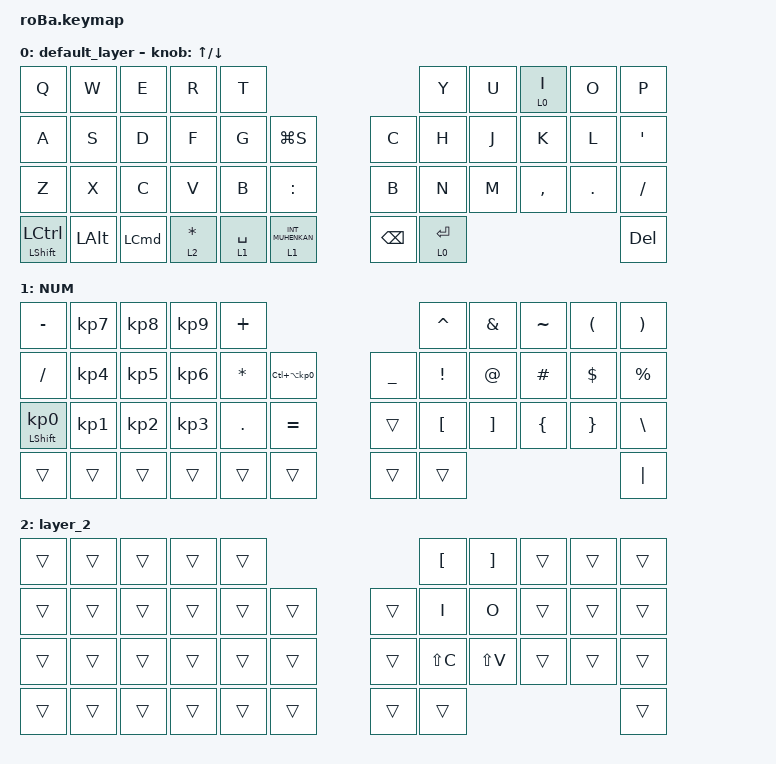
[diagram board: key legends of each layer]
#include <behaviors.dtsi>
#include <dt-bindings/zmk/keys.h>

#define MOUSE 4
#define SCROLL 5
#define NUM 6

&mt {
    flavor = "balanced";
    quick-tap-ms = <0>;
};

/ {
    combos {
        compatible = "zmk,combos";

        tab {
            bindings = <&kp TAB>;
            key-positions = <11 12>;
        };

        shift_tab {
            bindings = <&kp LS(TAB)>;
            key-positions = <12 13>;
        };

        muhennkann {
            bindings = <&to_layer_0 INT_MUHENKAN>;
            key-positions = <11 10>;
        };

        double_quotation {
            bindings = <&kp DOUBLE_QUOTES>;
            key-positions = <20 21>;
        };

        eq {
            bindings = <&kp EQUAL>;
            key-positions = <24 25>;
        };
    };

    macros {
        to_layer_0: to_layer_0 {
            compatible = "zmk,behavior-macro-one-param";
            #binding-cells = <1>;
            bindings = <&to 0 &macro_param_1to1 &kp MACRO_PLACEHOLDER>;
            label = "TO_LAYER_0";
        };
    };

    behaviors {
        lt_to_layer_0: lt_to_layer_0 {
            compatible = "zmk,behavior-hold-tap";
            label = "LAYER_TAP_TO_0";
            bindings = <&mo>, <&to_layer_0>;

            #binding-cells = <2>;
            tapping-term-ms = <200>;
        };
    };

    keymap {
        compatible = "zmk,keymap";

        default_layer {
            bindings = <
&kp Q                   &kp W         &kp E             &kp R           &kp T                                                          &kp Y        &kp U  &lt 0 I    &kp O    &kp P
&kp A                   &kp S         &kp D             &kp F           &kp G        &kp LG(S)                          &kp C          &kp H        &kp J  &kp K      &kp L    &kp SQT
&kp Z                   &kp X         &kp C             &kp V           &kp B        &kp COLON                          &kp B          &kp N        &kp M  &kp COMMA  &kp DOT  &kp SLASH
&mt LSHFT LEFT_CONTROL  &kp LEFT_ALT  &kp LEFT_COMMAND  &lt 2 ASTERISK  &lt 1 SPACE  &lt_to_layer_0 1 INT_MUHENKAN      &kp BACKSPACE  &lt 0 ENTER                             &kp DEL
            >;

            sensor-bindings = <&inc_dec_kp UP_ARROW DOWN>;
        };

        NUM {
            bindings = <
&kp MINUS                   &kp KP_NUMBER_7  &kp KP_NUMBER_8  &kp KP_NUMBER_9  &kp PLUS                                                   &kp CARET         &kp AMPERSAND      &kp TILDE       &kp LEFT_PARENTHESIS  &kp RIGHT_PARENTHESIS
&kp SLASH                   &kp KP_NUMBER_4  &kp KP_NUMBER_5  &kp KP_NUMBER_6  &kp ASTERISK  &kp LC(LA(KP_NUMBER_0))      &kp UNDERSCORE  &kp EXCLAMATION   &kp AT_SIGN        &kp HASH        &kp DOLLAR            &kp PERCENT
&mt LEFT_SHIFT KP_NUMBER_0  &kp KP_NUMBER_1  &kp KP_NUMBER_2  &kp KP_NUMBER_3  &kp PERIOD    &kp EQUAL                    &trans          &kp LEFT_BRACKET  &kp RIGHT_BRACKET  &kp LEFT_BRACE  &kp RIGHT_BRACE       &kp BACKSLASH
&trans                      &trans           &trans           &trans           &trans        &trans                       &trans          &trans                                                                     &kp PIPE
            >;
        };

        layer_2 {
            bindings = <
&trans  &trans  &trans  &trans  &trans                      &kp LEFT_BRACKET  &kp RIGHT_BRACKET  &trans  &trans  &trans
&trans  &trans  &trans  &trans  &trans  &trans      &trans  &kp I             &kp O              &trans  &trans  &trans
&trans  &trans  &trans  &trans  &trans  &trans      &trans  &kp LS(C)         &kp LS(V)          &trans  &trans  &trans
&trans  &trans  &trans  &trans  &trans  &trans      &trans  &trans                                               &trans
            >;
        };
    };
};
